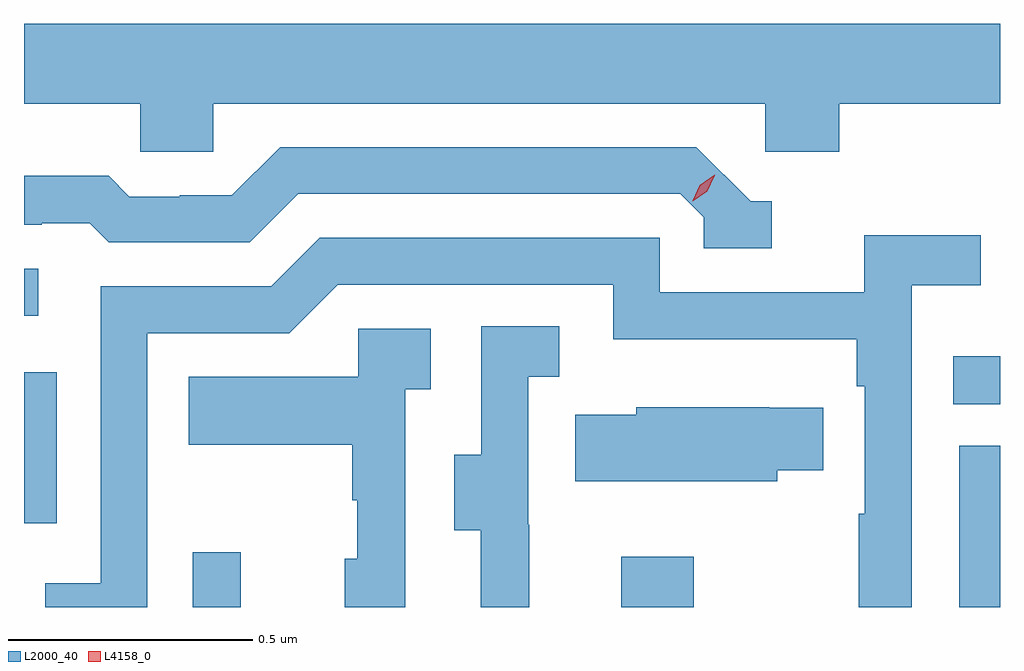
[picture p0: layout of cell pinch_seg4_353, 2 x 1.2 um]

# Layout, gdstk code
import gdstk
lib = gdstk.Library(unit=1e-6, precision=1e-09)
def R(c, l, rs):  # rectangles x0, y0, x1, y1
    for r in rs: c.add(gdstk.rectangle(r[:2], r[2:], *l))
def P(c, l, *ps):  # polygons
    for p in ps: c.add(gdstk.Polygon(p, *l))
L2000_40 = (2000, 40)
L4158_0 = (4158, 0)

pinch_seg4_353 = lib.new_cell('pinch_seg4_353')
R(pinch_seg4_353, L2000_40, [(1004.931,795.788,1005.029,795.901), (1005.809,795.788,1005.957,795.892), (1006.502,795.788,1006.585,796.119), (1004.585,795.96,1004.652,796.27), (1006.489,796.204,1006.585,796.303), (1004.585,796.386,1004.614,796.482)])
P(pinch_seg4_353, L2000_40, [(1004.973,796.82),(1006.104,796.82),(1006.104,796.722),(1006.256,796.722),(1006.256,796.82),(1006.585,796.82),(1006.585,796.984),(1004.585,796.984),(1004.585,796.82),(1004.823,796.82),(1004.823,796.722),(1004.973,796.722)],
  [(1006.117,796.62),(1006.074,796.62),(1005.963,796.731),(1005.11,796.731),(1005.011,796.632),(1004.904,796.632),(1004.904,796.629),(1004.801,796.629),(1004.759,796.672),(1004.585,796.672),(1004.585,796.572),(1004.621,796.572),(1004.621,796.575),(1004.72,796.575),(1004.759,796.536),(1005.048,796.536),(1005.147,796.635),(1005.93,796.635),(1005.978,796.587),(1005.978,796.524),(1006.117,796.524)],
  [(1004.838,796.35),(1005.129,796.35),(1005.228,796.449),(1005.792,796.449),(1005.792,796.337),(1006.291,796.337),(1006.291,796.241),(1006.308,796.241),(1006.308,795.98),(1006.296,795.98),(1006.296,795.788),(1006.404,795.788),(1006.404,796.448),(1006.546,796.448),(1006.546,796.55),(1006.307,796.55),(1006.307,796.434),(1005.888,796.434),(1005.888,796.545),(1005.191,796.545),(1005.092,796.446),(1004.742,796.446),(1004.742,795.837),(1004.629,795.837),(1004.629,795.788),(1004.838,795.788)],
  [(1005.62,795.957),(1005.618,795.957),(1005.618,796.261),(1005.682,796.261),(1005.682,796.364),(1005.522,796.364),(1005.522,796.101),(1005.467,796.101),(1005.467,795.946),(1005.521,795.946),(1005.521,795.788),(1005.62,795.788)],
  [(1005.366,796.235),(1005.418,796.235),(1005.418,796.359),(1005.27,796.359),(1005.27,796.261),(1004.923,796.261),(1004.923,796.121),(1005.258,796.121),(1005.258,796.007),(1005.268,796.007),(1005.268,795.888),(1005.242,795.888),(1005.242,795.788),(1005.366,795.788)],
  [(1006.129,796.069),(1006.223,796.069),(1006.223,796.197),(1006.112,796.197),(1006.112,796.198),(1005.84,796.198),(1005.84,796.183),(1005.715,796.183),(1005.715,796.046),(1006.129,796.046)])
P(pinch_seg4_353, L4158_0, [(1005.955,796.62),(1005.955,796.621),(1005.97,796.653),(1006,796.674),(1006,796.674),(1006,796.673),(1005.985,796.641),(1005.955,796.62)])

lib.write_gds('pinch_seg4_353.gds')
